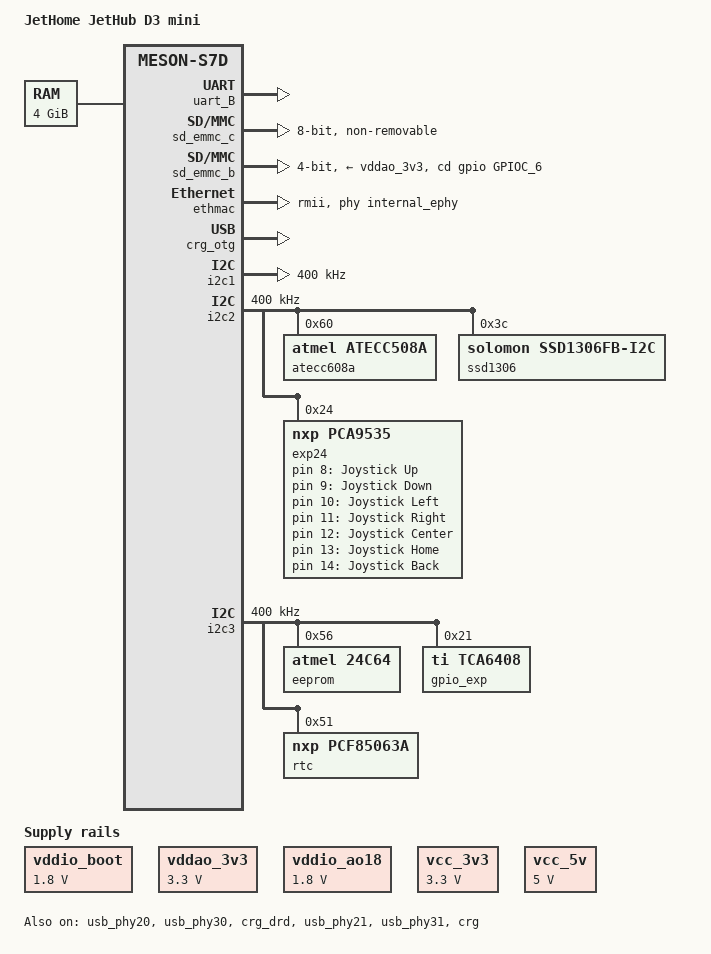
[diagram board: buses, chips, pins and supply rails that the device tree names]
// SPDX-License-Identifier: (GPL-2.0+ OR MIT)
/*
 * Copyright (c) 2026 JetHome
 * Author:
 * Identical to U-Boot DTS with kernel-specific includes
 */

/dts-v1/;

#include "meson-s7d.dtsi"

#include <dt-bindings/leds/common.h>
#include <dt-bindings/input/input.h>
#include <dt-bindings/gpio/gpio.h>

/ {
	amlogic-dt-id = "s7d_jethub_j300";
	compatible = "jethome,jethub-j300", "amlogic,s7d-txxx", "amlogic,meson-s7d";
	model = "JetHome JetHub D3 mini";

	interrupt-parent = <&gic>;
	#address-cells = <2>;
	#size-cells = <2>;

	aliases {
		serial0 = &uart_B;
		ethernet0 = &ethmac;
		mmc0 = &sd_emmc_b;  /* SD card */
        mmc1 = &sd_emmc_c;  /* eMMC */
	};

	chosen {
		stdout-path = "serial0:921600n8";
	};

	/* 4GiB RAM */
	memory@0 {
		device_type = "memory";
		reg = <0x0 0x0 0x1 0x00000000>;
	};

	/* Minimal stubs required by meson-s7d.dtsi */
	reserved-memory {
		#address-cells = <2>;
		#size-cells = <2>;
		ranges;
		secmon_reserved: secmon { reg = <0x0 0x05000000 0x0 0x2400000>; no-map; };
		logo_reserved: logo { reg = <0x0 0x1f800000 0x0 0x800000>; };
		ion_cma_reserved: ion_cma { size = <0x0 0x0>; };
		ion_fb_reserved: ion_fb { size = <0x0 0x0>; };
		mali_protected: mali { size = <0x0 0x0>; no-map; };
		ppmgr_reserved: ppmgr { size = <0x0 0x0>; };
		codec_mm_cma: codec_cma { size = <0x0 0x0>; };
		codec_mm_reserved: codec_res { size = <0x0 0x0>; };
		secure_vdec_reserved: vdec { size = <0x0 0x0>; no-map; };
	};

	vddio_boot: regulator-vddio-boot {
		compatible = "regulator-fixed";
		regulator-name = "VDDIO_BOOT";
		regulator-min-microvolt = <1800000>;
		regulator-max-microvolt = <1800000>;
		regulator-boot-on;
		regulator-always-on;
	};

	vddao_3v3: regulator-vddao-3v3 {
		compatible = "regulator-fixed";
		regulator-name = "VDDAO_3V3";
		regulator-min-microvolt = <3300000>;
		regulator-max-microvolt = <3300000>;
		regulator-boot-on;
		regulator-always-on;
	};

	vddio_ao18: regulator-vddio-ao18 {
		compatible = "regulator-fixed";
		regulator-name = "VDDIO_AO18";
		regulator-min-microvolt = <1800000>;
		regulator-max-microvolt = <1800000>;
		regulator-boot-on;
		regulator-always-on;
	};

	vcc_3v3: regulator-vcc-3v3 {
		compatible = "regulator-fixed";
		regulator-name = "VCC_3V3";
		regulator-min-microvolt = <3300000>;
		regulator-max-microvolt = <3300000>;
		regulator-boot-on;
		regulator-always-on;
	};

	vcc_5v: regulator-vcc-5v {
		compatible = "regulator-fixed";
		regulator-name = "VCC_5V";
		regulator-min-microvolt = <5000000>;
		regulator-max-microvolt = <5000000>;
		regulator-boot-on;
		regulator-always-on;
	};

	emmc_pwrseq: emmc-pwrseq {
		compatible = "mmc-pwrseq-emmc";
	};

	gpio-keys {
		compatible = "gpio-keys-polled";
		poll-interval = <100>;

		button_up {
			label = "Joystick Up";
			gpios = <&exp24 8 GPIO_ACTIVE_HIGH>;
			linux,code = <KEY_UP>;
			debounce-interval = <10>;
		};

		button_down {
			label = "Joystick Down";
			gpios = <&exp24 9 GPIO_ACTIVE_HIGH>;
			linux,code = <KEY_DOWN>;
			debounce-interval = <10>;
		};

		button_left {
			label = "Joystick Left";
			gpios = <&exp24 10 GPIO_ACTIVE_HIGH>;
			linux,code = <KEY_LEFT>;
			debounce-interval = <10>;
		};

		button_right {
			label = "Joystick Right";
			gpios = <&exp24 11 GPIO_ACTIVE_HIGH>;
			linux,code = <KEY_RIGHT>;
			debounce-interval = <10>;
		};

		button_center {
			label = "Joystick Center";
			gpios = <&exp24 12 GPIO_ACTIVE_HIGH>;
			linux,code = <KEY_ENTER>;
			debounce-interval = <10>;
		};

		button_home {
			label = "Joystick Home";
			gpios = <&exp24 13 GPIO_ACTIVE_HIGH>;
			linux,code = <KEY_HOME>;
			debounce-interval = <10>;
		};

		button_back {
			label = "Joystick Back";
			gpios = <&exp24 14 GPIO_ACTIVE_HIGH>;
			linux,code = <KEY_BACK>;
			debounce-interval = <10>;
		};
	};
};

&uart_B {
	status = "okay";
};

/* eMMC */
&sd_emmc_c {
	status = "okay";
	pinctrl-0 = <&emmc_pins>;
	pinctrl-names = "default";

	bus-width = <8>;
	cap-mmc-highspeed;
	mmc-hs200-1_8v;
	max-frequency = <50000000>;
	non-removable;
	disable-wp;
	card_type = <1>;

	/* Clock phases */
	init_co_phase = <2>;
	init_tx_phase = <0>;

	hs_co_phase = <2>;
	hs_to_phase = <0>;

	hs2_co_phase = <2>;
	hs2_to_phase = <0>;

	/* HW Reset GPIOB_9 */
	hw_reset = <&gpio GPIOB_9 GPIO_ACTIVE_HIGH>;
};

/* SD card */
&sd_emmc_b {
	status = "okay";
	pinctrl-0 = <&sdcard_pins>;
	pinctrl-1 = <&sdcard_clk_gate_pins>;
	pinctrl-2 = <&sd_1bit_pins>;
	pinctrl-names = "sd_default",
			"clk-gate",
			"sd_1bit_pins";
	card_type = <5>;

	bus-width = <4>;
	cap-sd-highspeed;
	max-frequency = <200000000>;
	disable-wp;

	cd-gpios = <&gpio GPIOC_6 GPIO_ACTIVE_HIGH>;
	vmmc-supply = <&vddao_3v3>;
	vqmmc-supply = <&vddao_3v3>;
};

&ethmac {
	pinctrl-0 = <&eth_led_pins>;
	pinctrl-names = "default";
	status = "okay";
	phy-handle = <&internal_ephy>;
	phy-mode = "rmii";
	keep-alive = <1>;
};

/* USB controller */
&usb_phy20 {
	status = "okay";
	portnum = <1>;
};

&usb_phy30 {
	status = "okay";
};

&crg_otg {
	status = "okay";
	controller-type = <1>; /* host mode */
};

&crg_drd {
	status = "okay";
};

/* USB controller 1 (Host) */
&usb_phy21 {
	status = "okay";
	portnum = <1>;
};

&usb_phy31 {
	status = "okay";
};

&crg {
	status = "okay";
};

/* I2C for modules - identical to U-Boot */
&i2c1 {
	status = "okay";
	pinctrl-0 = <&i2c1_pins2>;
	pinctrl-names = "default";
	clock-frequency = <400000>;
};

&i2c2 {
	status = "okay";
	pinctrl-0 = <&i2c2_pins3>;
	pinctrl-names = "default";
	clock-frequency = <400000>;

	atecc608a: crypto@60 {
		compatible = "atmel,atecc508a";
		reg = <0x60>;
	};

	ssd1306: oled@3c {
		compatible = "solomon,ssd1306fb-i2c";
		reg = <0x3c>;
		solomon,width = <128>;
		solomon,height = <64>;
		solomon,com-invdir;
		solomon,page-offset = <0>;
		solomon,dclk-div = <1>;
		solomon,dclk-frq = <15>;
		solomon,prechargep1 = <1>;
		solomon,prechargep2 = <15>;
	};

	exp24: gpio@24 {
		compatible = "nxp,pca9535";
		reg = <0x24>;
		gpio-controller;
		#gpio-cells = <2>;

		gpio-line-names =
			"", "", "", "", "", "", "", "",
			"JOY_UP", "JOY_DOWN", "JOY_LEFT", "JOY_RIGHT",
			"JOY_CENTER", "JOY_HOME", "JOY_BACK", "";
	};
};

&i2c3 {
	status = "okay";
	pinctrl-0 = <&i2c3_pins2>;
	pinctrl-names = "default";
	clock-frequency = <400000>;

	eeprom@56 {
		compatible = "atmel,24c64";
		reg = <0x56>;
		pagesize = <32>;
	};

	gpio_exp: gpio@21 {
		compatible = "ti,tca6408";
		reg = <0x21>;
		gpio-controller;
		#gpio-cells = <2>;
	};

	rtc@51 {
		compatible = "nxp,pcf85063a";
		reg = <0x51>;
	};
};

&vddcpu0 {
	status = "okay";
};

&CPU0 {
	#cooling-cells = <2>;
	operating-points-v2 = <&cpu_opp_table0>,
				<&cpu_opp_table1>,
				<&cpu_opp_table2>,
				<&cpu_opp_table3>;
};

/ {
	thermal-zones {
		soc_thermal: soc_thermal {
			polling-delay = <1000>;
			polling-delay-passive = <100>;
			sustainable-power = <1160>;
			thermal-sensors = <&p_tsensor 0>;

			trips {
				pswitch_on: trip-point@0 {
					temperature = <75000>;
					hysteresis = <5000>;
					type = "passive";
				};
				pcontrol: trip-point@1 {
					temperature = <80000>;
					hysteresis = <5000>;
					type = "passive";
				};
				pcritical: trip-point@2 {
					temperature = <100000>;
					hysteresis = <1000>;
					type = "critical";
				};
			};

			cooling-maps {
				cpufreq_cooling_map {
					trip = <&pcontrol>;
					cooling-device = <&CPU0 0 8>;
					contribution = <1024>;
				};
			};
		};

		dmc_thermal: dmc_thermal {
			polling-delay = <500>;
			polling-delay-passive = <500>;
			thermal-sensors = <&dmc_tsensor 2>;

			trips {
				dmc_hot: trip-point@0 {
					temperature = <15000>;
					hysteresis = <5000>;
					type = "hot";
				};
			};

			cooling-maps {
				dmc_cooling_map {
					trip = <&dmc_hot>;
					cooling-device = <&dmc_tsensor 0 0>;
					contribution = <1024>;
				};
			};
		};
	};/*thermal zone end*/

	meson-cpufreq {
		cluster0 {
			/delete-property/ pdvfs_enabled;
		};
	};
};
